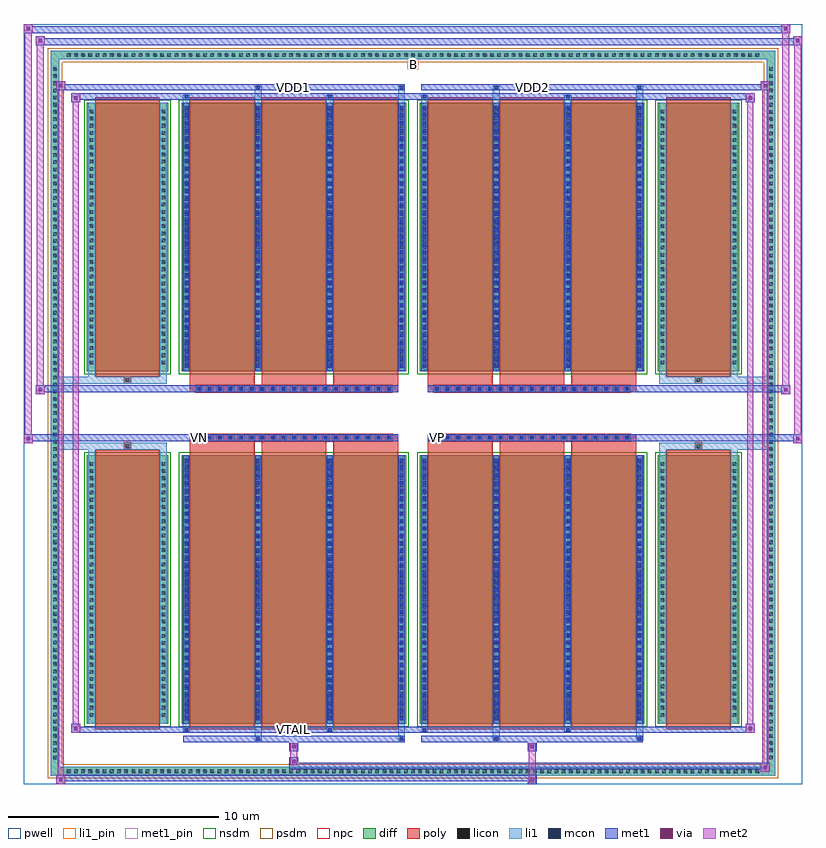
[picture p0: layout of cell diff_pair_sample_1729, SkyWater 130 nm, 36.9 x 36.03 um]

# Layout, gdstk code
import gdstk
lib = gdstk.Library(unit=1e-6, precision=5e-09)
def R(c, l, rs):  # rectangles x0, y0, x1, y1
    for r in rs: c.add(gdstk.rectangle(r[:2], r[2:], *l))
def A(c, l, x, y, w, h, nx, ny, dx, dy):  # array of equal rectangles
    R(c, l, [(x+i*dx, y+j*dy, x+i*dx+w, y+j*dy+h) for i in range(nx) for j in range(ny)])
def P(c, l, *ps):  # polygons
    for p in ps: c.add(gdstk.Polygon(p, *l))
pwell = (64, 44)
diff = (65, 20)
poly = (66, 20)
licon = (66, 44)
li1_pin = (67, 16)
li1 = (67, 20)
mcon = (67, 44)
met1_pin = (68, 16)
met1 = (68, 20)
via = (68, 44)
met2 = (69, 20)
nsdm = (93, 44)
psdm = (94, 20)
npc = (95, 20)

diff_pair_sample_1729 = lib.new_cell('diff_pair_sample_1729')
R(diff_pair_sample_1729, pwell, [(-18.45,-17.58,18.45,18.45), (-15.77,-15.77,-0.01,-0.795), (0.01,-15.77,15.77,-0.795), (-15.77,0.795,-0.01,15.77), (0.01,0.795,15.77,15.77)])
A(diff_pair_sample_1729, diff, -16.525, -17.18, 0.41, 0.41, 97, 2, 0.34, 33.95)
A(diff_pair_sample_1729, diff, -17.18, -16.525, 0.41, 0.41, 1, 97, 0, 0.34)
A(diff_pair_sample_1729, diff, 16.77, -16.525, 0.41, 0.41, 1, 97, 0, 0.34)
R(diff_pair_sample_1729, diff, [(-16.525,-17.18,16.525,-16.77), (-17.18,-16.525,-16.77,16.525), (16.77,-16.525,17.18,16.525), (-15.46,-14.725,-11.61,-1.985), (-10.97,-14.725,-0.32,-1.985), (0.32,-14.725,10.97,-1.985), (11.61,-14.725,15.46,-1.985), (-15.46,1.985,-11.61,14.725), (-10.97,1.985,-0.32,14.725), (0.32,1.985,10.97,14.725), (11.61,1.985,15.46,14.725), (-16.525,16.77,16.525,17.18)])
P(diff_pair_sample_1729, diff, [(17.18,17.18),(-17.18,17.18),(-17.18,-16.77),(-16.77,-16.77),(-16.77,16.77),(16.77,16.77),(16.77,-16.77),(-16.77,-16.77),(-17.18,-16.77),(-17.18,-17.18),(17.18,-17.18)])
A(diff_pair_sample_1729, poly, -10.58, -14.975, 3.07, 13.24, 3, 2, 3.4, 16.71)
A(diff_pair_sample_1729, poly, 0.71, -14.975, 3.07, 13.24, 3, 2, 3.4, 16.71)
A(diff_pair_sample_1729, poly, -10.58, -1.735, 3.07, 0.41, 3, 2, 3.4, 3.06)
A(diff_pair_sample_1729, poly, 0.71, -1.735, 3.07, 0.41, 3, 2, 3.4, 3.06)
A(diff_pair_sample_1729, poly, -10.31, -1.325, 0.33, 0.33, 19, 2, 0.5, 2.32)
A(diff_pair_sample_1729, poly, 0.98, -1.325, 0.33, 0.33, 19, 2, 0.5, 2.32)
R(diff_pair_sample_1729, poly, [(-15.07,-14.975,-12,-1.735), (12,-14.975,15.07,-1.735), (-13.7,-1.735,-13.37,-1.405), (-13.7,-1.735,-13.37,-1.405), (13.37,-1.735,13.7,-1.405), (13.37,-1.735,13.7,-1.405), (-10.58,-1.325,-0.71,-0.995), (0.71,-1.325,10.58,-0.995), (-10.58,0.995,-0.71,1.325), (0.71,0.995,10.58,1.325), (-13.7,1.405,-13.37,1.735), (-13.7,1.405,-13.37,1.735), (13.37,1.405,13.7,1.735), (13.37,1.405,13.7,1.735), (-15.07,1.735,-12,14.975), (12,1.735,15.07,14.975)])
A(diff_pair_sample_1729, licon, -16.405, -17.06, 0.17, 0.17, 97, 2, 0.34, 33.95)
A(diff_pair_sample_1729, licon, -17.06, -16.405, 0.17, 0.17, 1, 97, 0, 0.34)
A(diff_pair_sample_1729, licon, 16.89, -16.405, 0.17, 0.17, 1, 97, 0, 0.34)
A(diff_pair_sample_1729, licon, -15.32, -14.39, 0.17, 0.17, 1, 36, 0, 0.34)
A(diff_pair_sample_1729, licon, -11.92, -14.39, 0.17, 0.17, 1, 36, 0, 0.34)
A(diff_pair_sample_1729, licon, -10.83, -14.39, 0.17, 0.17, 4, 36, 3.4, 0.34)
A(diff_pair_sample_1729, licon, 0.46, -14.39, 0.17, 0.17, 4, 36, 3.4, 0.34)
A(diff_pair_sample_1729, licon, 11.75, -14.39, 0.17, 0.17, 1, 36, 0, 0.34)
A(diff_pair_sample_1729, licon, 15.15, -14.39, 0.17, 0.17, 1, 36, 0, 0.34)
A(diff_pair_sample_1729, licon, -10.23, -1.245, 0.17, 0.17, 19, 2, 0.5, 2.32)
A(diff_pair_sample_1729, licon, 1.06, -1.245, 0.17, 0.17, 19, 2, 0.5, 2.32)
A(diff_pair_sample_1729, licon, -15.32, 2.32, 0.17, 0.17, 1, 36, 0, 0.34)
A(diff_pair_sample_1729, licon, -11.92, 2.32, 0.17, 0.17, 1, 36, 0, 0.34)
A(diff_pair_sample_1729, licon, -10.83, 2.32, 0.17, 0.17, 4, 36, 3.4, 0.34)
A(diff_pair_sample_1729, licon, 0.46, 2.32, 0.17, 0.17, 4, 36, 3.4, 0.34)
A(diff_pair_sample_1729, licon, 11.75, 2.32, 0.17, 0.17, 1, 36, 0, 0.34)
A(diff_pair_sample_1729, licon, 15.15, 2.32, 0.17, 0.17, 1, 36, 0, 0.34)
R(diff_pair_sample_1729, licon, [(-13.62,-1.655,-13.45,-1.485), (13.45,-1.655,13.62,-1.485), (-13.62,1.485,-13.45,1.655), (13.45,1.485,13.62,1.655)])
R(diff_pair_sample_1729, li1_pin, [(-0.25,16.27,0.25,16.77)])
A(diff_pair_sample_1729, li1, -16.485, -17.14, 0.33, 0.33, 97, 2, 0.34, 33.95)
A(diff_pair_sample_1729, li1, -17.14, -16.485, 0.33, 0.33, 1, 97, 0, 0.34)
A(diff_pair_sample_1729, li1, 16.81, -16.485, 0.33, 0.33, 1, 97, 0, 0.34)
A(diff_pair_sample_1729, li1, -10.91, -14.725, 0.33, 12.74, 4, 2, 3.4, 16.71)
A(diff_pair_sample_1729, li1, 0.38, -14.725, 0.33, 12.74, 4, 2, 3.4, 16.71)
A(diff_pair_sample_1729, li1, -10.83, -14.56, 0.17, 0.17, 4, 35, 3.4, 0.36)
A(diff_pair_sample_1729, li1, -10.83, -14.56, 0.17, 12.41, 4, 2, 3.4, 16.71)
A(diff_pair_sample_1729, li1, 0.46, -14.56, 0.17, 0.17, 4, 35, 3.4, 0.36)
A(diff_pair_sample_1729, li1, 0.46, -14.56, 0.17, 12.41, 4, 2, 3.4, 16.71)
A(diff_pair_sample_1729, li1, -15.4, -14.47, 0.33, 0.33, 1, 36, 0, 0.34)
A(diff_pair_sample_1729, li1, -12, -14.47, 0.33, 0.33, 1, 36, 0, 0.34)
A(diff_pair_sample_1729, li1, -10.91, -14.47, 0.33, 0.33, 4, 36, 3.4, 0.34)
A(diff_pair_sample_1729, li1, 0.38, -14.47, 0.33, 0.33, 4, 36, 3.4, 0.34)
A(diff_pair_sample_1729, li1, 11.67, -14.47, 0.33, 0.33, 1, 36, 0, 0.34)
A(diff_pair_sample_1729, li1, 15.07, -14.47, 0.33, 0.33, 1, 36, 0, 0.34)
A(diff_pair_sample_1729, li1, -10.31, -1.325, 0.33, 0.33, 19, 2, 0.5, 2.32)
A(diff_pair_sample_1729, li1, 0.98, -1.325, 0.33, 0.33, 19, 2, 0.5, 2.32)
A(diff_pair_sample_1729, li1, -10.83, 2.15, 0.17, 0.17, 4, 35, 3.4, 0.36)
A(diff_pair_sample_1729, li1, 0.46, 2.15, 0.17, 0.17, 4, 35, 3.4, 0.36)
A(diff_pair_sample_1729, li1, -15.4, 2.24, 0.33, 0.33, 1, 36, 0, 0.34)
A(diff_pair_sample_1729, li1, -12, 2.24, 0.33, 0.33, 1, 36, 0, 0.34)
A(diff_pair_sample_1729, li1, -10.91, 2.24, 0.33, 0.33, 4, 36, 3.4, 0.34)
A(diff_pair_sample_1729, li1, 0.38, 2.24, 0.33, 0.33, 4, 36, 3.4, 0.34)
A(diff_pair_sample_1729, li1, 11.67, 2.24, 0.33, 0.33, 1, 36, 0, 0.34)
A(diff_pair_sample_1729, li1, 15.07, 2.24, 0.33, 0.33, 1, 36, 0, 0.34)
R(diff_pair_sample_1729, li1, [(-17.18,-17.18,-16.77,-16.77), (-17.18,-17.18,-16.77,-16.77), (-16.77,-17.18,16.77,-16.77), (16.77,-17.18,17.18,-16.77), (16.77,-17.18,17.18,-16.77), (-17.18,-16.77,-16.77,16.77), (16.77,-16.77,17.18,16.77), (-7.51,-15.53,-7.18,-14.725), (-7.43,-15.53,-7.26,-15.36), (-0.71,-15.53,-0.38,-14.725), (-0.63,-15.53,-0.46,-15.36), (3.78,-15.53,4.11,-14.725), (3.86,-15.53,4.03,-15.36), (10.58,-15.53,10.91,-14.725), (10.66,-15.53,10.83,-15.36), (-10.91,-15.1,-10.58,-14.725), (-10.83,-15.1,-10.66,-14.93), (-4.11,-15.1,-3.78,-14.725), (-4.03,-15.1,-3.86,-14.93), (0.38,-15.1,0.71,-14.725), (0.46,-15.1,0.63,-14.93), (7.18,-15.1,7.51,-14.725), (7.26,-15.1,7.43,-14.93), (-15.4,-14.725,-15.07,-1.985), (-12,-14.725,-11.67,-1.985), (11.67,-14.725,12,-1.985), (15.07,-14.725,15.4,-1.985), (-15.4,-1.985,-15.07,-1.405), (-12,-1.985,-11.67,-1.405), (11.67,-1.985,12,-1.405), (15.07,-1.985,15.4,-1.405), (-17.18,-1.735,-13.7,-1.405), (-15.4,-1.735,-13.7,-1.405), (-13.7,-1.735,-13.37,-1.405), (-13.37,-1.735,-11.67,-1.405), (11.67,-1.735,13.37,-1.405), (13.37,-1.735,13.7,-1.405), (13.37,-1.735,17.18,-1.405), (13.7,-1.735,15.4,-1.405), (-17.18,1.405,-13.7,1.735), (-15.4,1.405,-13.7,1.735), (-15.4,1.405,-15.07,1.985), (-13.7,1.405,-13.37,1.735), (-13.37,1.405,-11.67,1.735), (-12,1.405,-11.67,1.985), (11.67,1.405,13.37,1.735), (11.67,1.405,12,1.985), (13.37,1.405,13.7,1.735), (13.37,1.405,17.18,1.735), (13.7,1.405,15.4,1.735), (15.07,1.405,15.4,1.985), (-15.4,1.985,-15.07,14.725), (-12,1.985,-11.67,14.725), (11.67,1.985,12,14.725), (15.07,1.985,15.4,14.725), (-10.91,14.725,-10.58,15.1), (-7.51,14.725,-7.18,15.53), (-4.11,14.725,-3.78,15.1), (-0.71,14.725,-0.38,15.53), (0.38,14.725,0.71,15.1), (3.78,14.725,4.11,15.53), (7.18,14.725,7.51,15.1), (10.58,14.725,10.91,15.53), (-10.83,14.93,-10.66,15.1), (-4.03,14.93,-3.86,15.1), (0.46,14.93,0.63,15.1), (7.26,14.93,7.43,15.1), (-7.43,15.36,-7.26,15.53), (-0.63,15.36,-0.46,15.53), (3.86,15.36,4.03,15.53), (10.66,15.36,10.83,15.53), (-17.18,16.77,-16.77,17.18), (-17.18,16.77,-16.77,17.18), (-16.77,16.77,16.77,17.18), (16.77,16.77,17.18,17.18), (16.77,16.77,17.18,17.18)])
A(diff_pair_sample_1729, mcon, -10.83, -14.56, 0.17, 0.17, 4, 35, 3.4, 0.36)
A(diff_pair_sample_1729, mcon, 0.46, -14.56, 0.17, 0.17, 4, 35, 3.4, 0.36)
A(diff_pair_sample_1729, mcon, -10.23, -1.245, 0.17, 0.17, 19, 2, 0.5, 2.32)
A(diff_pair_sample_1729, mcon, 1.06, -1.245, 0.17, 0.17, 19, 2, 0.5, 2.32)
A(diff_pair_sample_1729, mcon, -10.83, 2.15, 0.17, 0.17, 4, 35, 3.4, 0.36)
A(diff_pair_sample_1729, mcon, 0.46, 2.15, 0.17, 0.17, 4, 35, 3.4, 0.36)
R(diff_pair_sample_1729, mcon, [(-7.43,-15.53,-7.26,-15.36), (-0.63,-15.53,-0.46,-15.36), (3.86,-15.53,4.03,-15.36), (10.66,-15.53,10.83,-15.36), (-10.83,-15.1,-10.66,-14.93), (-4.03,-15.1,-3.86,-14.93), (0.46,-15.1,0.63,-14.93), (7.26,-15.1,7.43,-14.93), (-10.83,14.93,-10.66,15.1), (-4.03,14.93,-3.86,15.1), (0.46,14.93,0.63,15.1), (7.26,14.93,7.43,15.1), (-7.43,15.36,-7.26,15.53), (-0.63,15.36,-0.46,15.53), (3.86,15.36,4.03,15.53), (10.66,15.36,10.83,15.53)])
R(diff_pair_sample_1729, met1_pin, [(-5.78,-15.14,-5.51,-14.87), (-10.28,-1.285,-10.01,-1.015), (1.01,-1.285,1.28,-1.015), (-5.78,15.32,-5.51,15.59), (5.51,15.32,5.78,15.59)])
A(diff_pair_sample_1729, met1, -10.89, -14.725, 0.29, 12.74, 4, 2, 3.4, 16.71)
A(diff_pair_sample_1729, met1, 0.4, -14.725, 0.29, 12.74, 4, 2, 3.4, 16.71)
A(diff_pair_sample_1729, met1, -10.89, -14.62, 0.29, 0.29, 4, 35, 3.4, 0.36)
A(diff_pair_sample_1729, met1, 0.4, -14.62, 0.29, 0.29, 4, 35, 3.4, 0.36)
A(diff_pair_sample_1729, met1, -10.29, -1.305, 0.29, 0.29, 19, 2, 0.5, 2.32)
A(diff_pair_sample_1729, met1, 1, -1.305, 0.29, 0.29, 19, 2, 0.5, 2.32)
A(diff_pair_sample_1729, met1, -10.89, 2.09, 0.29, 0.29, 4, 35, 3.4, 0.36)
A(diff_pair_sample_1729, met1, 0.4, 2.09, 0.29, 0.29, 4, 35, 3.4, 0.36)
R(diff_pair_sample_1729, met1, [(-16.91,-17.58,-16.48,-17.15), (5.43,-17.58,5.86,-17.15), (-16.91,-17.44,5.86,-17.15), (16.48,-17.01,16.91,-16.58), (-5.86,-16.87,16.91,-16.58), (-5.86,-16.73,-5.43,-16.3), (-5.86,-16.02,-5.43,-15.59), (5.43,-16.02,5.86,-15.59), (-10.89,-15.59,-0.4,-15.3), (-7.49,-15.59,-7.2,-15.3), (-0.69,-15.59,-0.4,-15.3), (0.4,-15.59,10.89,-15.3), (3.8,-15.59,4.09,-15.3), (10.6,-15.59,10.89,-15.3), (-16.2,-15.16,-15.77,-14.73), (-16.2,-15.16,-10.89,-14.87), (-10.89,-15.16,-10.6,-14.87), (-10.89,-15.16,-0.4,-14.87), (-4.09,-15.16,-3.8,-14.87), (-0.4,-15.16,0.4,-14.87), (0.4,-15.16,0.69,-14.87), (0.4,-15.16,10.89,-14.87), (7.2,-15.16,7.49,-14.87), (10.89,-15.16,16.2,-14.87), (15.77,-15.16,16.2,-14.73), (-18.45,-1.425,-18.02,-0.995), (18.02,-1.425,18.45,-0.995), (-18.45,-1.325,-0.71,-0.995), (-10.58,-1.325,-0.71,-0.995), (0.71,-1.325,10.58,-0.995), (0.71,-1.325,18.45,-0.995), (-17.88,0.895,-17.45,1.325), (17.45,0.895,17.88,1.325), (-17.88,0.995,-10.58,1.325), (-10.58,0.995,-0.71,1.325), (0.71,0.995,10.58,1.325), (10.58,0.995,17.88,1.325), (-16.2,14.73,-15.77,15.16), (15.77,14.73,16.2,15.16), (-16.2,14.87,-10.89,15.16), (-10.89,14.87,-10.6,15.16), (-10.89,14.87,-0.4,15.16), (-4.09,14.87,-3.8,15.16), (-0.4,14.87,0.4,15.16), (0.4,14.87,0.69,15.16), (0.4,14.87,10.89,15.16), (7.2,14.87,7.49,15.16), (10.89,14.87,16.2,15.16), (-16.91,15.3,-16.48,15.73), (-16.91,15.3,-10.89,15.59), (-10.89,15.3,-0.4,15.59), (-7.49,15.3,-7.2,15.59), (-0.69,15.3,-0.4,15.59), (0.4,15.3,10.89,15.59), (3.8,15.3,4.09,15.59), (10.6,15.3,10.89,15.59), (10.89,15.3,16.91,15.59), (16.48,15.3,16.91,15.73), (-17.88,17.45,-17.45,17.88), (-17.88,17.45,-15.77,17.78), (-15.77,17.45,15.77,17.78), (15.77,17.45,18.45,17.78), (18.02,17.45,18.45,17.88), (-18.45,18.02,-18.02,18.45), (-18.45,18.02,-15.77,18.35), (-15.77,18.02,15.77,18.35), (15.77,18.02,17.88,18.35), (17.45,18.02,17.88,18.45)])
R(diff_pair_sample_1729, via, [(-16.77,-17.44,-16.62,-17.29), (5.57,-17.44,5.72,-17.29), (16.62,-16.87,16.77,-16.72), (-5.72,-16.59,-5.57,-16.44), (-5.72,-15.88,-5.57,-15.73), (5.57,-15.88,5.72,-15.73), (-16.06,-15.02,-15.91,-14.87), (15.91,-15.02,16.06,-14.87), (-18.31,-1.285,-18.16,-1.135), (18.16,-1.285,18.31,-1.135), (-17.74,1.035,-17.59,1.185), (17.59,1.035,17.74,1.185), (-16.06,14.87,-15.91,15.02), (15.91,14.87,16.06,15.02), (-16.77,15.44,-16.62,15.59), (16.62,15.44,16.77,15.59), (-17.74,17.59,-17.59,17.74), (18.16,17.59,18.31,17.74), (-18.31,18.16,-18.16,18.31), (17.59,18.16,17.74,18.31)])
R(diff_pair_sample_1729, met2, [(-16.91,-17.58,-16.48,-17.15), (-16.84,-17.58,-16.55,15.73), (-16.55,-17.58,-16.48,-17.15), (-16.86,-17.53,-16.53,-17.2), (5.48,-17.53,5.81,-17.2), (5.48,-17.2,5.81,-15.97), (16.48,-17.01,16.91,-16.58), (16.55,-17.01,16.84,15.73), (16.84,-17.01,16.91,-16.58), (16.53,-16.96,16.86,-16.63), (-5.81,-16.68,-5.48,-16.35), (-5.81,-16.35,-5.48,-15.97), (-5.81,-15.97,-5.48,-15.64), (5.48,-15.97,5.81,-15.64), (-16.2,-15.16,-15.77,-14.73), (-16.13,-15.16,-15.84,15.16), (-15.84,-15.16,-15.77,-14.73), (15.77,-15.16,16.2,-14.73), (15.84,-15.16,16.13,15.16), (16.13,-15.16,16.2,-14.73), (-16.15,-15.11,-15.82,-14.78), (15.82,-15.11,16.15,-14.78), (-18.45,-1.425,-18.02,-0.995), (-18.4,-1.425,-18.07,18.45), (-18.07,-1.425,-18.02,-0.995), (18.02,-1.425,18.45,-0.995), (18.07,-1.425,18.4,17.88), (18.4,-1.425,18.45,-0.995), (-18.4,-1.375,-18.07,-1.045), (18.07,-1.375,18.4,-1.045), (-17.88,0.895,-17.45,1.325), (-17.83,0.895,-17.5,17.88), (-17.5,0.895,-17.45,1.325), (17.45,0.895,17.88,1.325), (17.5,0.895,17.83,18.45), (17.83,0.895,17.88,1.325), (-17.83,0.945,-17.5,1.275), (17.5,0.945,17.83,1.275), (-16.2,14.73,-15.77,15.16), (-15.84,14.73,-15.77,15.16), (15.77,14.73,16.2,15.16), (16.13,14.73,16.2,15.16), (-16.15,14.78,-15.82,15.11), (15.82,14.78,16.15,15.11), (-16.91,15.3,-16.48,15.73), (-16.55,15.3,-16.48,15.73), (16.48,15.3,16.91,15.73), (16.84,15.3,16.91,15.73), (-16.86,15.35,-16.53,15.68), (16.53,15.35,16.86,15.68), (-17.88,17.45,-17.45,17.88), (-17.5,17.45,-17.45,17.88), (18.02,17.45,18.45,17.88), (18.4,17.45,18.45,17.88), (-17.83,17.5,-17.5,17.83), (18.07,17.5,18.4,17.83), (-18.45,18.02,-18.02,18.45), (-18.07,18.02,-18.02,18.45), (17.45,18.02,17.88,18.45), (17.83,18.02,17.88,18.45), (-18.4,18.07,-18.07,18.4), (17.5,18.07,17.83,18.4)])
R(diff_pair_sample_1729, nsdm, [(-15.59,-14.855,-11.48,-1.855), (-11.1,-14.855,-0.19,-1.855), (0.19,-14.855,11.1,-1.855), (11.48,-14.855,15.59,-1.855), (-15.59,1.855,-11.48,14.855), (-11.1,1.855,-0.19,14.855), (0.19,1.855,11.1,14.855), (11.48,1.855,15.59,14.855)])
P(diff_pair_sample_1729, psdm, [(17.31,17.31),(-17.31,17.31),(-17.31,-16.64),(-16.64,-16.64),(-16.64,16.64),(16.64,16.64),(16.64,-16.64),(-16.64,-16.64),(-17.31,-16.64),(-17.31,-17.31),(17.31,-17.31)])
A(diff_pair_sample_1729, npc, -10.33, -1.345, 0.37, 0.37, 19, 2, 0.5, 2.32)
A(diff_pair_sample_1729, npc, 0.96, -1.345, 0.37, 0.37, 19, 2, 0.5, 2.32)
R(diff_pair_sample_1729, npc, [(-13.72,-1.755,-13.35,-1.385), (13.35,-1.755,13.72,-1.385), (-10.33,-1.345,-9.46,-0.975), (-10.33,-1.345,-9.46,-0.975), (-9.83,-1.345,-8.96,-0.975), (-9.83,-1.345,-8.96,-0.975), (-9.33,-1.345,-8.46,-0.975), (-9.33,-1.345,-8.46,-0.975), (-8.83,-1.345,-7.96,-0.975), (-8.83,-1.345,-7.96,-0.975), (-8.33,-1.345,-7.46,-0.975), (-8.33,-1.345,-7.46,-0.975), (-7.83,-1.345,-6.96,-0.975), (-7.83,-1.345,-6.96,-0.975), (-7.33,-1.345,-6.46,-0.975), (-7.33,-1.345,-6.46,-0.975), (-6.83,-1.345,-5.96,-0.975), (-6.83,-1.345,-5.96,-0.975), (-6.33,-1.345,-5.46,-0.975), (-6.33,-1.345,-5.46,-0.975), (-5.83,-1.345,-4.96,-0.975), (-5.83,-1.345,-4.96,-0.975), (-5.33,-1.345,-4.46,-0.975), (-5.33,-1.345,-4.46,-0.975), (-4.83,-1.345,-3.96,-0.975), (-4.83,-1.345,-3.96,-0.975), (-4.33,-1.345,-3.46,-0.975), (-4.33,-1.345,-3.46,-0.975), (-3.83,-1.345,-2.96,-0.975), (-3.83,-1.345,-2.96,-0.975), (-3.33,-1.345,-2.46,-0.975), (-3.33,-1.345,-2.46,-0.975), (-2.83,-1.345,-1.96,-0.975), (-2.83,-1.345,-1.96,-0.975), (-2.33,-1.345,-1.46,-0.975), (-2.33,-1.345,-1.46,-0.975), (-1.83,-1.345,-0.96,-0.975), (-1.83,-1.345,-0.96,-0.975), (0.96,-1.345,1.83,-0.975), (0.96,-1.345,1.83,-0.975), (1.46,-1.345,2.33,-0.975), (1.46,-1.345,2.33,-0.975), (1.96,-1.345,2.83,-0.975), (1.96,-1.345,2.83,-0.975), (2.46,-1.345,3.33,-0.975), (2.46,-1.345,3.33,-0.975), (2.96,-1.345,3.83,-0.975), (2.96,-1.345,3.83,-0.975), (3.46,-1.345,4.33,-0.975), (3.46,-1.345,4.33,-0.975), (3.96,-1.345,4.83,-0.975), (3.96,-1.345,4.83,-0.975), (4.46,-1.345,5.33,-0.975), (4.46,-1.345,5.33,-0.975), (4.96,-1.345,5.83,-0.975), (4.96,-1.345,5.83,-0.975), (5.46,-1.345,6.33,-0.975), (5.46,-1.345,6.33,-0.975), (5.96,-1.345,6.83,-0.975), (5.96,-1.345,6.83,-0.975), (6.46,-1.345,7.33,-0.975), (6.46,-1.345,7.33,-0.975), (6.96,-1.345,7.83,-0.975), (6.96,-1.345,7.83,-0.975), (7.46,-1.345,8.33,-0.975), (7.46,-1.345,8.33,-0.975), (7.96,-1.345,8.83,-0.975), (7.96,-1.345,8.83,-0.975), (8.46,-1.345,9.33,-0.975), (8.46,-1.345,9.33,-0.975), (8.96,-1.345,9.83,-0.975), (8.96,-1.345,9.83,-0.975), (9.46,-1.345,10.33,-0.975), (9.46,-1.345,10.33,-0.975), (-10.33,0.975,-9.46,1.345), (-10.33,0.975,-9.46,1.345), (-9.83,0.975,-8.96,1.345), (-9.83,0.975,-8.96,1.345), (-9.33,0.975,-8.46,1.345), (-9.33,0.975,-8.46,1.345), (-8.83,0.975,-7.96,1.345), (-8.83,0.975,-7.96,1.345), (-8.33,0.975,-7.46,1.345), (-8.33,0.975,-7.46,1.345), (-7.83,0.975,-6.96,1.345), (-7.83,0.975,-6.96,1.345), (-7.33,0.975,-6.46,1.345), (-7.33,0.975,-6.46,1.345), (-6.83,0.975,-5.96,1.345), (-6.83,0.975,-5.96,1.345), (-6.33,0.975,-5.46,1.345), (-6.33,0.975,-5.46,1.345), (-5.83,0.975,-4.96,1.345), (-5.83,0.975,-4.96,1.345), (-5.33,0.975,-4.46,1.345), (-5.33,0.975,-4.46,1.345), (-4.83,0.975,-3.96,1.345), (-4.83,0.975,-3.96,1.345), (-4.33,0.975,-3.46,1.345), (-4.33,0.975,-3.46,1.345), (-3.83,0.975,-2.96,1.345), (-3.83,0.975,-2.96,1.345), (-3.33,0.975,-2.46,1.345), (-3.33,0.975,-2.46,1.345), (-2.83,0.975,-1.96,1.345), (-2.83,0.975,-1.96,1.345), (-2.33,0.975,-1.46,1.345), (-2.33,0.975,-1.46,1.345), (-1.83,0.975,-0.96,1.345), (-1.83,0.975,-0.96,1.345), (0.96,0.975,1.83,1.345), (0.96,0.975,1.83,1.345), (1.46,0.975,2.33,1.345), (1.46,0.975,2.33,1.345), (1.96,0.975,2.83,1.345), (1.96,0.975,2.83,1.345), (2.46,0.975,3.33,1.345), (2.46,0.975,3.33,1.345), (2.96,0.975,3.83,1.345), (2.96,0.975,3.83,1.345), (3.46,0.975,4.33,1.345), (3.46,0.975,4.33,1.345), (3.96,0.975,4.83,1.345), (3.96,0.975,4.83,1.345), (4.46,0.975,5.33,1.345), (4.46,0.975,5.33,1.345), (4.96,0.975,5.83,1.345), (4.96,0.975,5.83,1.345), (5.46,0.975,6.33,1.345), (5.46,0.975,6.33,1.345), (5.96,0.975,6.83,1.345), (5.96,0.975,6.83,1.345), (6.46,0.975,7.33,1.345), (6.46,0.975,7.33,1.345), (6.96,0.975,7.83,1.345), (6.96,0.975,7.83,1.345), (7.46,0.975,8.33,1.345), (7.46,0.975,8.33,1.345), (7.96,0.975,8.83,1.345), (7.96,0.975,8.83,1.345), (8.46,0.975,9.33,1.345), (8.46,0.975,9.33,1.345), (8.96,0.975,9.83,1.345), (8.96,0.975,9.83,1.345), (9.46,0.975,10.33,1.345), (9.46,0.975,10.33,1.345), (-13.72,1.385,-13.35,1.755), (13.35,1.385,13.72,1.755)])
diff_pair_sample_1729.add(gdstk.Label('VTAIL', (-5.645,-15.005), layer=68, texttype=5))
diff_pair_sample_1729.add(gdstk.Label('VN', (-10.145,-1.15), layer=68, texttype=5))
diff_pair_sample_1729.add(gdstk.Label('VP', (1.145,-1.15), layer=68, texttype=5))
diff_pair_sample_1729.add(gdstk.Label('B', (0,16.52), layer=67, texttype=5))
diff_pair_sample_1729.add(gdstk.Label('VDD2', (5.645,15.455), layer=68, texttype=5))
diff_pair_sample_1729.add(gdstk.Label('VDD1', (-5.645,15.455), layer=68, texttype=5))

lib.write_gds('diff_pair_sample_1729.gds')
